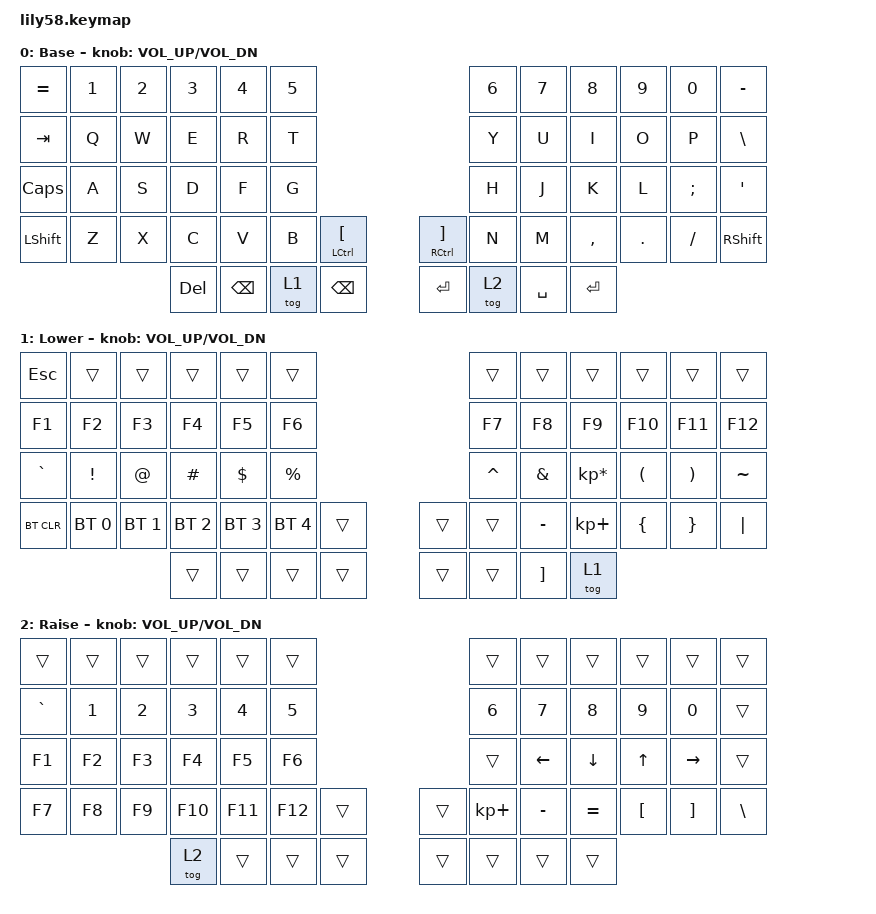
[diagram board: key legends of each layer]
/*
 * Copyright (c) 2020 The ZMK Contributors
 *
 * SPDX-License-Identifier: MIT
 */

#include <behaviors.dtsi>
#include <dt-bindings/zmk/bt.h>
#include <dt-bindings/zmk/keys.h>

/ {
    keymap {
        compatible = "zmk,keymap";

        default_layer {
            // ------------------------------------------------------------------------------------------------------------
            // |  ESC  |  1  |  2  |  3   |  4   |  5   |                   |  6   |  7    |  8    |  9   |   0   |   `   |
            // |  TAB  |  Q  |  W  |  E   |  R   |  T   |                   |  Y   |  U    |  I    |  O   |   P   |   -   |
            // |  CTRL |  A  |  S  |  D   |  F   |  G   |                   |  H   |  J    |  K    |  L   |   ;   |   '   |
            // | SHIFT |  Z  |  X  |  C   |  V   |  B   |   "["  |  |  "]"  |  N   |  M    |  ,    |  .   |   /   | SHIFT |
            //                     | ALT  | GUI  | LOWER|  SPACE |  | ENTER | RAISE| BSPC  | GUI   |

            display-name = "Base";
            bindings = <
&kp EQUAL     &kp N1  &kp N2  &kp N3      &kp N4         &kp N5                                                     &kp N6  &kp N7     &kp N8     &kp N9   &kp N0    &kp MINUS
&kp TAB       &kp Q   &kp W   &kp E       &kp R          &kp T                                                      &kp Y   &kp U      &kp I      &kp O    &kp P     &kp BACKSLASH
&kp CAPSLOCK  &kp A   &kp S   &kp D       &kp F          &kp G                                                      &kp H   &kp J      &kp K      &kp L    &kp SEMI  &kp SQT
&kp LSHFT     &kp Z   &kp X   &kp C       &kp V          &kp B   &mt LCTRL LEFT_BRACKET    &mt RCTRL RIGHT_BRACKET  &kp N   &kp M      &kp COMMA  &kp DOT  &kp FSLH  &kp RSHFT
                              &kp DELETE  &kp BACKSPACE  &tog 1  &kp BACKSPACE             &kp RETURN               &tog 2  &kp SPACE  &kp RET
            >;

            sensor-bindings = <&inc_dec_kp C_VOL_UP C_VOL_DN>;
        };

        lower_layer {
            // ------------------------------------------------------------------------------------------------------------
            // | BTCLR | BT1 | BT2 |  BT3 |  BT4 |  BT5 |                   |      |       |       |      |       |       |
            // |  F1   |  F2 |  F3 |  F4  |  F5  |  F6  |                   |  F7  |  F8   |  F9   |  F10 |  F11  |  F12  |
            // |   `   |  !  |  @  |  #   |  $   |  %   |                   |  ^   |  &    |  *    |  (   |   )   |   ~   |
            // |       |     |     |      |      |      |        |  |       |      |  _    |  +    |  {   |   }   |  "|"  |
            //                     |      |      |      |        |  |       |      |       |       |

            display-name = "Lower";
            bindings = <
&kp ESCAPE  &trans        &trans        &trans        &trans        &trans                          &trans     &trans             &trans           &trans    &trans    &trans
&kp F1      &kp F2        &kp F3        &kp F4        &kp F5        &kp F6                          &kp F7     &kp F8             &kp F9           &kp F10   &kp F11   &kp F12
&kp GRAVE   &kp EXCL      &kp AT        &kp HASH      &kp DOLLAR    &kp PRCNT                       &kp CARET  &kp AMPS           &kp KP_MULTIPLY  &kp LPAR  &kp RPAR  &kp TILDE
&bt BT_CLR  &bt BT_SEL 0  &bt BT_SEL 1  &bt BT_SEL 2  &bt BT_SEL 3  &bt BT_SEL 4  &trans    &trans  &trans     &kp MINUS          &kp KP_PLUS      &kp LBRC  &kp RBRC  &kp PIPE
                                        &trans        &trans        &trans        &trans    &trans  &trans     &kp RIGHT_BRACKET  &tog 1
            >;

            sensor-bindings = <&inc_dec_kp C_VOL_UP C_VOL_DN>;
        };

        raise_layer {
            // ------------------------------------------------------------------------------------------------------------
            // |       |     |     |      |      |      |                   |      |       |       |      |       |       |
            // |   `   |  1  |  2  |  3   |  4   |  5   |                   |  6   |   7   |   8   |  9   |   0   |       |
            // |   F1  |  F2 |  F3 |  F4  |  F5  |  F6  |                   |      |   <-  |   v   |  ^   |  ->   |       |
            // |   F7  |  F8 |  F9 |  F10 |  F11 |  F12 |        |  |       |  +   |   -   |   =   |  [   |   ]   |   \   |
            //                     |      |      |      |        |  |       |      |       |       |

            display-name = "Raise";
            bindings = <
&trans     &trans  &trans  &trans   &trans   &trans                     &trans       &trans     &trans     &trans    &trans     &trans
&kp GRAVE  &kp N1  &kp N2  &kp N3   &kp N4   &kp N5                     &kp N6       &kp N7     &kp N8     &kp N9    &kp N0     &trans
&kp F1     &kp F2  &kp F3  &kp F4   &kp F5   &kp F6                     &trans       &kp LEFT   &kp DOWN   &kp UP    &kp RIGHT  &trans
&kp F7     &kp F8  &kp F9  &kp F10  &kp F11  &kp F12  &trans    &trans  &kp KP_PLUS  &kp MINUS  &kp EQUAL  &kp LBKT  &kp RBKT   &kp BSLH
                           &tog 2   &trans   &trans   &trans    &trans  &trans       &trans     &trans
            >;

            sensor-bindings = <&inc_dec_kp C_VOL_UP C_VOL_DN>;
        };

        extra_1 { status = "reserved"; };

        extra_2 { status = "reserved"; };

        extra_3 { status = "reserved"; };
    };
};
